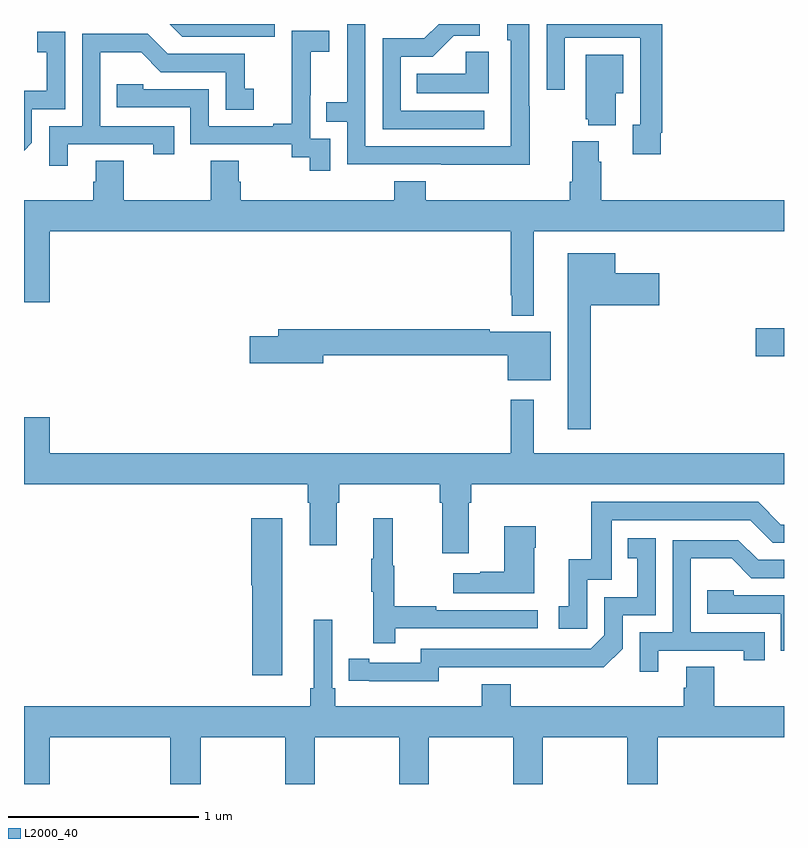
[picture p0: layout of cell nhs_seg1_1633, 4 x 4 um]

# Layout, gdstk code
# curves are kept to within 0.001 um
import gdstk
lib = gdstk.Library(unit=1e-6, precision=1e-09)
def R(c, l, rs):  # rectangles x0, y0, x1, y1
    for r in rs: c.add(gdstk.rectangle(r[:2], r[2:], *l))
def P(c, l, *ps):  # polygons
    for p in ps: c.add(gdstk.Polygon(p, *l))
L2000_40 = (2000, 40)

nhs_seg1_1633 = lib.new_cell('nhs_seg1_1633')
R(nhs_seg1_1633, L2000_40, [(204.852,508.451,205,508.598)])
P(nhs_seg1_1633, L2000_40, [(203.661,509.765),(203.658,509.765),(203.658,510.199),(203.543,510.199),(203.543,510.114),(203.562,510.114),(203.562,509.556),(202.797,509.556),(202.797,510.199),(202.701,510.199),(202.701,509.786),(202.591,509.786),(202.591,509.685),(202.701,509.685),(202.701,509.46),(203.197,509.46),(203.197,509.459),(203.661,509.459)],
  [(202.32,510.199),(201.767,510.199),(201.834,510.132),(202.32,510.132)],
  [(204.352,509.626),(204.359,509.626),(204.359,510.199),(203.751,510.199),(203.751,509.853),(203.847,509.853),(203.847,510.126),(204.243,510.126),(204.243,509.67),(204.203,509.67),(204.203,509.514),(204.352,509.514)],
  [(203.422,509.742),(202.983,509.742),(202.983,510.027),(203.152,510.027),(203.263,510.138),(203.398,510.138),(203.398,510.199),(203.182,510.199),(203.106,510.123),(202.887,510.123),(202.887,509.646),(203.422,509.646)],
  [(202.611,509.595),(202.506,509.595),(202.506,509.825),(202.508,509.825),(202.508,510.053),(202.606,510.053),(202.606,510.163),(202.408,510.163),(202.408,509.957),(202.409,509.957),(202.409,509.674),(202.313,509.674),(202.313,509.661),(201.972,509.661),(201.972,509.856),(201.627,509.856),(201.627,509.883),(201.487,509.883),(201.487,509.76),(201.876,509.76),(201.876,509.565),(202.41,509.565),(202.41,509.497),(202.503,509.497),(202.503,509.427),(202.611,509.427)],
  [(201.042,509.574),(201.042,509.751),(201.216,509.751),(201.216,510.157),(201.07,510.157),(201.07,510.051),(201.119,510.051),(201.119,509.847),(201,509.847),(201,509.532)],
  [(201.229,509.565),(201.68,509.565),(201.68,509.514),(201.791,509.514),(201.791,509.661),(201.402,509.661),(201.402,510.05),(201.616,510.05),(201.72,509.946),(202.062,509.946),(202.062,509.748),(202.21,509.748),(202.21,509.857),(202.161,509.857),(202.161,510.042),(201.757,510.042),(201.652,510.147),(201.306,510.147),(201.306,509.661),(201.132,509.661),(201.132,509.454),(201.229,509.454)],
  [(203.446,510.053),(203.325,510.053),(203.325,509.938),(203.068,509.938),(203.068,509.834),(203.446,509.834)],
  [(204.115,509.834),(204.154,509.834),(204.154,510.037),(203.957,510.037),(203.957,509.697),(203.969,509.697),(203.969,509.666),(204.115,509.666)],
  [(203.683,509.108),(205,509.108),(205,509.272),(204.038,509.272),(204.038,509.474),(204.025,509.474),(204.025,509.581),(203.885,509.581),(203.885,509.368),(203.873,509.368),(203.873,509.272),(203.114,509.272),(203.114,509.371),(202.949,509.371),(202.949,509.272),(202.142,509.272),(202.142,509.37),(202.129,509.37),(202.129,509.48),(201.982,509.48),(201.982,509.272),(201.525,509.272),(201.525,509.48),(201.377,509.48),(201.377,509.37),(201.365,509.37),(201.365,509.272),(201,509.272),(201,508.734),(201.136,508.734),(201.136,509.108),(203.562,509.108),(203.562,508.771),(203.568,508.771),(203.568,508.664),(203.683,508.664)],
  [(203.983,508.718),(204.343,508.718),(204.343,508.888),(204.112,508.888),(204.112,508.993),(203.861,508.993),(203.861,508.065),(203.983,508.065)],
  [(203.773,508.579),(203.45,508.579),(203.45,508.592),(202.337,508.592),(202.337,508.556),(202.188,508.556),(202.188,508.414),(202.576,508.414),(202.576,508.456),(203.546,508.456),(203.546,508.325),(203.773,508.325)],
  [(201.136,508.129),(201,508.129),(201,507.776),(202.493,507.776),(202.493,507.68),(202.505,507.68),(202.505,507.456),(202.645,507.456),(202.645,507.68),(202.658,507.68),(202.658,507.776),(203.189,507.776),(203.189,507.68),(203.201,507.68),(203.201,507.414),(203.341,507.414),(203.341,507.68),(203.354,507.68),(203.354,507.776),(205,507.776),(205,507.94),(203.683,507.94),(203.683,508.222),(203.562,508.222),(203.562,507.94),(201.136,507.94)],
  [(203.964,507.273),(204.093,507.273),(204.093,507.588),(204.822,507.588),(204.942,507.468),(205,507.468),(205,507.564),(204.984,507.564),(204.864,507.684),(203.985,507.684),(203.985,507.382),(203.867,507.382),(203.867,507.135),(203.814,507.135),(203.814,507.015),(203.964,507.015)],
  [(202.955,507.018),(203.704,507.018),(203.704,507.114),(203.171,507.114),(203.171,507.134),(202.948,507.134),(202.948,507.348),(202.94,507.348),(202.94,507.598),(202.838,507.598),(202.838,507.385),(202.827,507.385),(202.827,507.211),(202.838,507.211),(202.838,506.94),(202.955,506.94)],
  [(202.36,507.598),(202.196,507.598),(202.196,507.246),(202.202,507.246),(202.202,506.772),(202.36,506.772)],
  [(203.686,507.443),(203.694,507.443),(203.694,507.556),(203.528,507.556),(203.528,507.317),(203.402,507.317),(203.402,507.307),(203.259,507.307),(203.259,507.203),(203.686,507.203)],
  [(203.184,506.814),(204.052,506.813),(204.15,506.91),(204.15,507.087),(204.324,507.087),(204.324,507.493),(204.178,507.493),(204.178,507.387),(204.227,507.387),(204.227,507.183),(204.054,507.183),(204.054,506.982),(203.982,506.91),(203.088,506.91),(203.088,506.838),(202.816,506.838),(202.816,506.858),(202.708,506.858),(202.708,506.742),(203.184,506.741)],
  [(204.337,506.901),(204.788,506.901),(204.788,506.85),(204.899,506.85),(204.899,506.997),(204.51,506.997),(204.51,507.386),(204.724,507.386),(204.828,507.282),(205,507.282),(205,507.378),(204.865,507.378),(204.76,507.483),(204.414,507.483),(204.414,506.997),(204.24,506.997),(204.24,506.79),(204.337,506.79)],
  [(205,507.192),(204.735,507.192),(204.735,507.219),(204.595,507.219),(204.595,507.096),(204.984,507.096),(204.984,506.901),(205,506.901)],
  [(201.136,506.444),(201.77,506.444),(201.77,506.199),(201.93,506.199),(201.93,506.444),(202.375,506.444),(202.375,506.199),(202.53,506.199),(202.53,506.444),(202.975,506.444),(202.975,506.199),(203.13,506.199),(203.13,506.444),(203.575,506.444),(203.575,506.199),(203.73,506.199),(203.73,506.444),(204.175,506.444),(204.175,506.199),(204.335,506.199),(204.335,506.444),(205,506.444),(205,506.608),(204.633,506.608),(204.633,506.816),(204.485,506.816),(204.485,506.706),(204.473,506.706),(204.473,506.608),(203.561,506.608),(203.561,506.725),(203.408,506.725),(203.408,506.608),(202.637,506.608),(202.637,506.704),(202.623,506.704),(202.623,507.064),(202.526,507.064),(202.526,506.704),(202.507,506.704),(202.507,506.608),(201,506.608),(201,506.199),(201.136,506.199)])

lib.write_gds('nhs_seg1_1633.gds')
